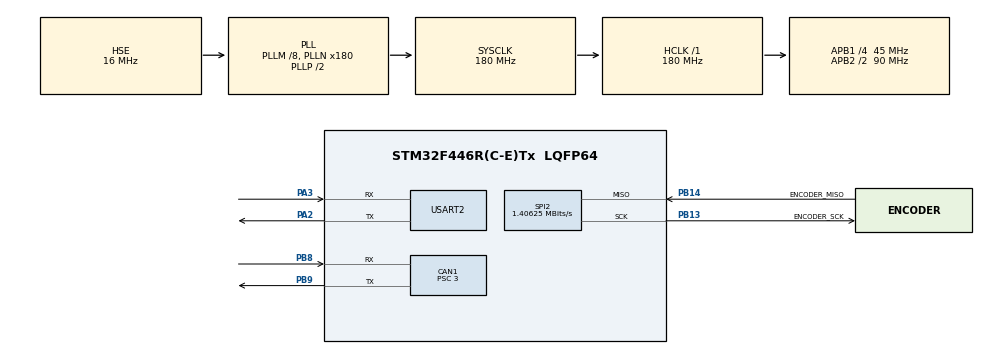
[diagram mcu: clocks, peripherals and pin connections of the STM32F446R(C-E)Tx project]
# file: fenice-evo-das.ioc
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CAN1.BS1=CAN_BS1_12TQ
CAN1.BS2=CAN_BS2_2TQ
CAN1.CalculateBaudRate=1000000
CAN1.CalculateTimeBit=1000
CAN1.CalculateTimeQuantum=66.66666666666666
CAN1.Prescaler=3
CAN1.SJW=CAN_SJW_2TQ
Mcu.Family=STM32F4
Mcu.Name=STM32F446R(C-E)Tx
Mcu.Package=LQFP64
NVIC.CAN1_RX0_IRQn=true\:0\:0\:false\:false\:true\:true\:true\:true
NVIC.CAN1_RX1_IRQn=true\:0\:0\:false\:false\:true\:true\:true\:true
NVIC.PriorityGroup=NVIC_PRIORITYGROUP_4
NVIC.SPI2_IRQn=true\:0\:0\:false\:false\:true\:true\:true\:true
NVIC.TIM1_UP_TIM10_IRQn=true\:0\:0\:false\:false\:true\:true\:true\:true
NVIC.TIM6_DAC_IRQn=true\:0\:0\:false\:false\:true\:true\:true\:true
NVIC.TIM7_IRQn=true\:0\:0\:false\:false\:true\:true\:true\:true
NVIC.TIM8_BRK_TIM12_IRQn=true\:0\:0\:false\:false\:true\:true\:true\:true
NVIC.TIM8_CC_IRQn=true\:0\:0\:false\:false\:true\:true\:true\:true
NVIC.TIM8_TRG_COM_TIM14_IRQn=true\:0\:0\:false\:false\:true\:true\:true\:true
NVIC.TIM8_UP_TIM13_IRQn=true\:0\:0\:false\:false\:true\:true\:true\:true
NVIC.USART2_IRQn=true\:0\:0\:false\:false\:true\:true\:true\:true
PA13.Mode=Serial_Wire
PA13.Signal=SYS_JTMS-SWDIO
PA14.Mode=Serial_Wire
PA14.Signal=SYS_JTCK-SWCLK
PA2.Mode=Asynchronous
PA2.Signal=USART2_TX
PA3.Mode=Asynchronous
PA3.Signal=USART2_RX
PB13.GPIO_Label=ENCODER_SCK
PB13.Mode=RX_Only_Simplex_Unidirect_Master
PB13.Signal=SPI2_SCK
PB14.GPIO_Label=ENCODER_MISO
PB14.Mode=RX_Only_Simplex_Unidirect_Master
PB14.Signal=SPI2_MISO
PB8.Mode=CAN_Activate
PB8.Signal=CAN1_RX
PB9.Mode=CAN_Activate
PB9.Signal=CAN1_TX
PH0-OSC_IN.Mode=HSE-External-Oscillator
PH0-OSC_IN.Signal=RCC_OSC_IN
PH1-OSC_OUT.Mode=HSE-External-Oscillator
PH1-OSC_OUT.Signal=RCC_OSC_OUT
ProjectManager.HeapSize=0x200
ProjectManager.StackSize=0x400
ProjectManager.TargetToolchain=Makefile
RCC.AHBFreq_Value=180000000
RCC.APB1CLKDivider=RCC_HCLK_DIV4
RCC.APB1Freq_Value=45000000
RCC.APB1TimFreq_Value=90000000
RCC.APB2CLKDivider=RCC_HCLK_DIV2
RCC.APB2Freq_Value=90000000
RCC.APB2TimFreq_Value=180000000
RCC.CortexFreq_Value=180000000
RCC.HCLKFreq_Value=180000000
RCC.HSE_VALUE=16000000
RCC.PLLM=8
RCC.PLLN=180
RCC.PLLSourceVirtual=RCC_PLLSOURCE_HSE
RCC.SYSCLKFreq_VALUE=180000000
RCC.SYSCLKSource=RCC_SYSCLKSOURCE_PLLCLK
RCC.USBFreq_Value=180000000
RCC.VCOOutputFreq_Value=360000000
SPI2.BaudRatePrescaler=SPI_BAUDRATEPRESCALER_32
SPI2.CLKPolarity=SPI_POLARITY_HIGH
SPI2.CalculateBaudRate=1.40625 MBits/s
SPI2.Direction=SPI_DIRECTION_2LINES_RXONLY
SPI2.Mode=SPI_MODE_MASTER
SPI2.VirtualType=VM_MASTER
TIM1.Channel-Output\ Compare2\ No\ Output=TIM_CHANNEL_2
TIM1.Channel-PWM\ Generation1\ No\ Output=TIM_CHANNEL_1
TIM1.Prescaler=30000
TIM10.Channel=TIM_CHANNEL_1
TIM10.Period=1000-1
TIM10.Prescaler=180-1
TIM13.Channel=TIM_CHANNEL_1
TIM13.Prescaler=90
TIM6.Prescaler=62999
TIM7.Period=100
TIM7.Prescaler=900-1
TIM8.Prescaler=179
USART2.VirtualMode=VM_ASYNC
VP_TIM10_VS_ClockSourceINT.Mode=Enable_Timer
VP_TIM10_VS_no_output1.Mode=Output Compare1 No Output
VP_TIM13_VS_ClockSourceINT.Mode=Enable_Timer
VP_TIM13_VS_no_output1.Mode=Output Compare1 No Output
VP_TIM1_VS_ClockSourceINT.Mode=Internal
VP_TIM1_VS_no_output1.Mode=PWM Generation1 No Output
VP_TIM1_VS_no_output2.Mode=Output Compare2 No Output
VP_TIM4_VS_ClockSourceINT.Mode=Internal
VP_TIM6_VS_ClockSourceINT.Mode=Enable_Timer
VP_TIM7_VS_ClockSourceINT.Mode=Enable_Timer
VP_TIM8_VS_ClockSourceINT.Mode=Internal
board=custom

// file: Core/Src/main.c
/* USER CODE BEGIN Header */
/**
 ******************************************************************************
 * @file           : main.c
 * @brief          : Main program body
 ******************************************************************************
 * @attention
 *
 * Copyright (c) 2026 STMicroelectronics.
 * All rights reserved.
 *
 * This software is licensed under terms that can be found in the LICENSE file
 * in the root directory of this software component.
 * If no LICENSE file comes with this software, it is provided AS-IS.
 *
 ******************************************************************************
 */
/* USER CODE END Header */
#include "main.h"
#include "can.h"
#include "spi.h"
#include "tim.h"
#include "usart.h"
#include "gpio.h"

/* USER CODE BEGIN Includes */

#include "fsm.h"
#include "can-communications-router-api.h"
#include "can-primary.h"
#include "logger-api.h"

/* USER CODE END Includes */

void SystemClock_Config(void);

int main(void) {

    /* MCU Configuration--------------------------------------------------------*/

    /* Reset of all peripherals, Initializes the Flash interface and the Systick. */
    HAL_Init();

    /* Configure the system clock */
    SystemClock_Config();

    /* Initialize all configured peripherals */
    MX_GPIO_Init();
    MX_USART2_UART_Init();
    MX_TIM8_Init();
    MX_CAN1_Init();
    MX_TIM13_Init();
    MX_TIM10_Init();
    MX_TIM1_Init();
    MX_TIM6_Init();
    MX_TIM7_Init();
    MX_TIM4_Init();
    MX_SPI2_Init();
    /* USER CODE BEGIN 2 */

    fsm_state_t state = FSM_STATE_INIT;

    struct FsmInitData init_data = {
        .can_network_configs = {
            [CAN_COMMUNICATION_NETWORK_PRIMARY] = {
                .on_receive = can_communications_router_api_receive_primary,
                .send = can_send_primary,
                .cs_enter = __disable_irq,
                .cs_exit = __enable_irq,
            },
        },
        .logger_config = {
            .send = usart_logger_send,
            .cs_enter = __disable_irq,
            .cs_exit = __enable_irq,
        },
    };

    HAL_CAN_Start(&hcan1);

    state = fsm_run_state(state, &init_data);

    HAL_CAN_ActivateNotification(&hcan1, CAN_IT_RX_FIFO0_MSG_PENDING);
    HAL_CAN_ActivateNotification(&hcan1, CAN_IT_RX_FIFO1_MSG_PENDING);

    struct FsmData fsm_data = {
        .get_tick = HAL_GetTick,
    };

    /* USER CODE END 2 */

    /* Infinite loop */
    /* USER CODE BEGIN WHILE */
    while (1) {
        EAGLETRT_STATIC uint32_t last_tick = 0;
        EAGLETRT_STATIC uint32_t last_print = 0;

        state = fsm_run_state(state, &fsm_data);

        if (HAL_GetTick() - last_tick > can_primary_cycle_time_steeringencoder) {
            last_tick = HAL_GetTick();
            if (spi_start_read_encoder_it() != ENCODER_RC_OK) {
                logger_api_log(LOGGER_LEVEL_ERROR, "Failed to start reading encoder");
            }
        }

        if (HAL_GetTick() - last_print > 1000) {
            last_print = HAL_GetTick();
            logger_api_log(LOGGER_LEVEL_INFO, "encoder: %d", encoder_api_get_angle(ENCODER_NAME_STEERING));
        }

        /* USER CODE END WHILE */

    }
}

void SystemClock_Config(void) {
    RCC_OscInitTypeDef RCC_OscInitStruct = { 0 };
    RCC_ClkInitTypeDef RCC_ClkInitStruct = { 0 };

    /** Configure the main internal regulator output voltage
  */
    __HAL_RCC_PWR_CLK_ENABLE();
    __HAL_PWR_VOLTAGESCALING_CONFIG(PWR_REGULATOR_VOLTAGE_SCALE1);

    /** Initializes the RCC Oscillators according to the specified parameters
  * in the RCC_OscInitTypeDef structure.
  */
    RCC_OscInitStruct.OscillatorType = RCC_OSCILLATORTYPE_HSE;
    RCC_OscInitStruct.HSEState = RCC_HSE_ON;
    RCC_OscInitStruct.PLL.PLLState = RCC_PLL_ON;
    RCC_OscInitStruct.PLL.PLLSource = RCC_PLLSOURCE_HSE;
    RCC_OscInitStruct.PLL.PLLM = 8;
    RCC_OscInitStruct.PLL.PLLN = 180;
    RCC_OscInitStruct.PLL.PLLP = RCC_PLLP_DIV2;
    RCC_OscInitStruct.PLL.PLLQ = 2;
    RCC_OscInitStruct.PLL.PLLR = 2;
    if (HAL_RCC_OscConfig(&RCC_OscInitStruct) != HAL_OK) {
        Error_Handler();
    }

    /** Activate the Over-Drive mode
  */
    if (HAL_PWREx_EnableOverDrive() != HAL_OK) {
        Error_Handler();
    }

    /** Initializes the CPU, AHB and APB buses clocks
  */
    RCC_ClkInitStruct.ClockType = RCC_CLOCKTYPE_HCLK | RCC_CLOCKTYPE_SYSCLK | RCC_CLOCKTYPE_PCLK1 | RCC_CLOCKTYPE_PCLK2;
    RCC_ClkInitStruct.SYSCLKSource = RCC_SYSCLKSOURCE_PLLCLK;
    RCC_ClkInitStruct.AHBCLKDivider = RCC_SYSCLK_DIV1;
    RCC_ClkInitStruct.APB1CLKDivider = RCC_HCLK_DIV4;
    RCC_ClkInitStruct.APB2CLKDivider = RCC_HCLK_DIV2;

    if (HAL_RCC_ClockConfig(&RCC_ClkInitStruct, FLASH_LATENCY_5) != HAL_OK) {
        Error_Handler();
    }
}

void Error_Handler(void) {
    __disable_irq();
    while (1) {
    }
}
#ifdef USE_FULL_ASSERT
/**
  * @brief  Reports the name of the source file and the source line number
  *         where the assert_param error has occurred.
  * @param  file: pointer to the source file name
  * @param  line: assert_param error line source number
  * @retval None
  */
void assert_failed(uint8_t *file, uint32_t line) {
    /* USER CODE BEGIN 6 */
    /* User can add his own implementation to report the file name and line
     number, ex: printf("Wrong parameters value: file %s on line %d\r\n", file,
     line) */
    /* USER CODE END 6 */
}
#endif /* USE_FULL_ASSERT */
